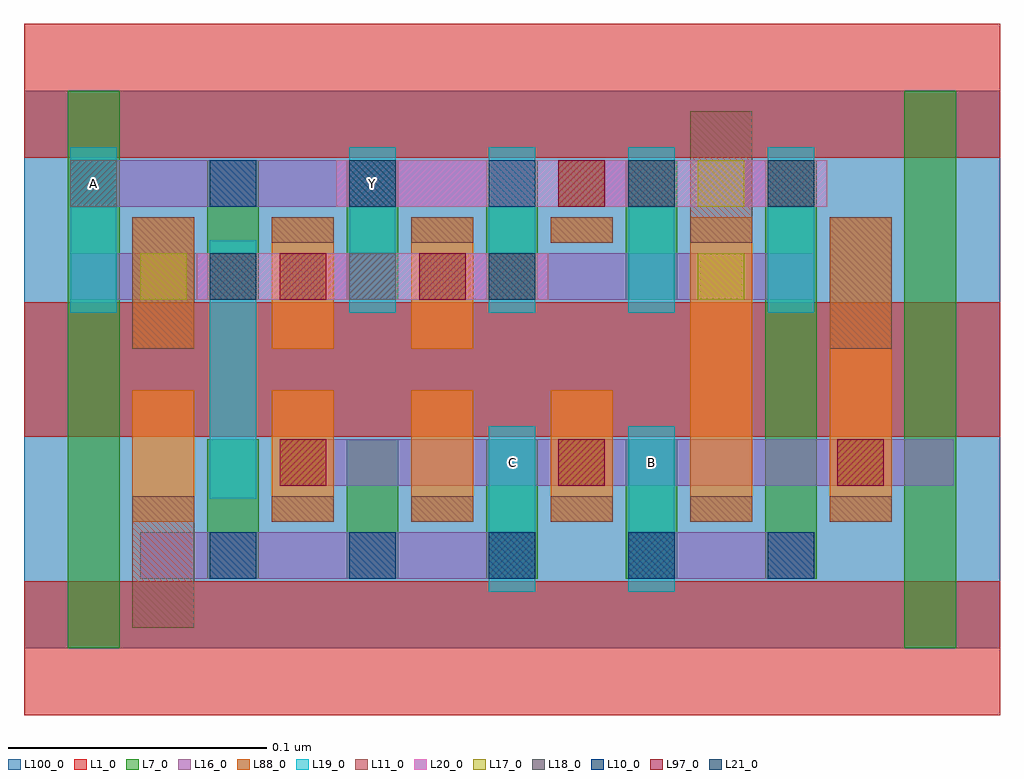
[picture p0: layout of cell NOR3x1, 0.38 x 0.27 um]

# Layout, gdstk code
import gdstk
lib = gdstk.Library(unit=1e-6, precision=2.5e-10)
def R(c, l, rs):  # rectangles x0, y0, x1, y1
    for r in rs: c.add(gdstk.rectangle(r[:2], r[2:], *l))
def A(c, l, x, y, w, h, nx, ny, dx, dy):  # array of equal rectangles
    R(c, l, [(x+i*dx, y+j*dy, x+i*dx+w, y+j*dy+h) for i in range(nx) for j in range(ny)])
L1_0 = (1, 0)
L7_0 = (7, 0)
L10_0 = (10, 0)
L11_0 = (11, 0)
L16_0 = (16, 0)
L17_0 = (17, 0)
L18_0 = (18, 0)
L19_0 = (19, 0)
L20_0 = (20, 0)
L21_0 = (21, 0)
L88_0 = (88, 0)
L97_0 = (97, 0)
L100_0 = (100, 0)

nor3x1 = lib.new_cell('NOR3x1')
A(nor3x1, L1_0, 0, -0.026, 0.378, 0.052, 1, 3, 0, 0.108)
A(nor3x1, L7_0, 0.071, 0.027, 0.02, 0.054, 4, 2, 0.054, 0.108)
R(nor3x1, L7_0, [(0.017,0,0.037,0.108), (0.341,0,0.361,0.108), (0.287,0.027,0.307,0.108), (0.017,0.108,0.037,0.216), (0.287,0.108,0.307,0.189), (0.341,0.108,0.361,0.216)])
A(nor3x1, L10_0, 0.072, 0.027, 0.018, 0.018, 5, 1, 0.054, 0)
A(nor3x1, L10_0, 0.072, 0.171, 0.018, 0.018, 3, 1, 0.054, 0)
A(nor3x1, L11_0, 0.096, 0.049, 0.024, 0.01, 5, 1, 0.054, 0)
A(nor3x1, L11_0, 0.096, 0.157, 0.024, 0.01, 3, 1, 0.054, 0)
R(nor3x1, L11_0, [(0.042,0.008,0.066,0.059), (0.042,0.116,0.066,0.167), (0.312,0.116,0.336,0.167), (0.258,0.157,0.282,0.208)])
R(nor3x1, L16_0, [(0.045,0.027,0.198,0.045), (0.234,0.027,0.306,0.045), (0.099,0.063,0.36,0.081), (0.018,0.135,0.09,0.153), (0.099,0.135,0.144,0.153), (0.153,0.135,0.306,0.153), (0.018,0.171,0.198,0.189), (0.207,0.171,0.252,0.189), (0.261,0.171,0.306,0.189)])
A(nor3x1, L17_0, 0.099, 0.063, 0.018, 0.018, 3, 1, 0.108, 0)
A(nor3x1, L17_0, 0.045, 0.135, 0.018, 0.018, 3, 1, 0.054, 0)
R(nor3x1, L17_0, [(0.261,0.135,0.279,0.153), (0.207,0.171,0.225,0.189), (0.261,0.171,0.279,0.189)])
A(nor3x1, L18_0, 0.072, 0.135, 0.018, 0.018, 3, 1, 0.054, 0)
R(nor3x1, L18_0, [(0.18,0.027,0.198,0.045), (0.234,0.027,0.252,0.045), (0.018,0.171,0.036,0.189), (0.234,0.171,0.252,0.189), (0.288,0.171,0.306,0.189)])
A(nor3x1, L19_0, 0.126, 0.13, 0.018, 0.064, 4, 1, 0.054, 0)
R(nor3x1, L19_0, [(0.18,0.022,0.198,0.086), (0.234,0.022,0.252,0.086), (0.072,0.058,0.09,0.158), (0.018,0.13,0.036,0.194)])
R(nor3x1, L20_0, [(0.067,0.135,0.203,0.153), (0.121,0.171,0.311,0.189)])
R(nor3x1, L21_0, [(0.072,0.135,0.09,0.153), (0.18,0.135,0.198,0.153), (0.126,0.171,0.144,0.189), (0.234,0.171,0.252,0.189), (0.288,0.171,0.306,0.189)])
A(nor3x1, L88_0, 0.042, 0.049, 0.024, 0.051, 4, 1, 0.054, 0)
A(nor3x1, L88_0, 0.042, 0.116, 0.024, 0.051, 3, 1, 0.054, 0)
R(nor3x1, L88_0, [(0.258,0.049,0.282,0.108), (0.312,0.049,0.336,0.108), (0.258,0.108,0.282,0.167), (0.312,0.108,0.336,0.167), (0.204,0.157,0.228,0.167)])
A(nor3x1, L97_0, 0.099, 0.063, 0.018, 0.018, 3, 1, 0.108, 0)
R(nor3x1, L97_0, [(0.099,0.135,0.117,0.153), (0.153,0.135,0.171,0.153), (0.207,0.171,0.225,0.189)])
R(nor3x1, L100_0, [(0,0,0.378,0.216)])
nor3x1.add(gdstk.Label('A', (0.027,0.18), layer=19, texttype=251))
nor3x1.add(gdstk.Label('B', (0.243,0.072), layer=19, texttype=251))
nor3x1.add(gdstk.Label('C', (0.189,0.072), layer=19, texttype=251))
nor3x1.add(gdstk.Label('Y', (0.135,0.18), layer=19, texttype=251))

lib.write_gds('NOR3x1.gds')
